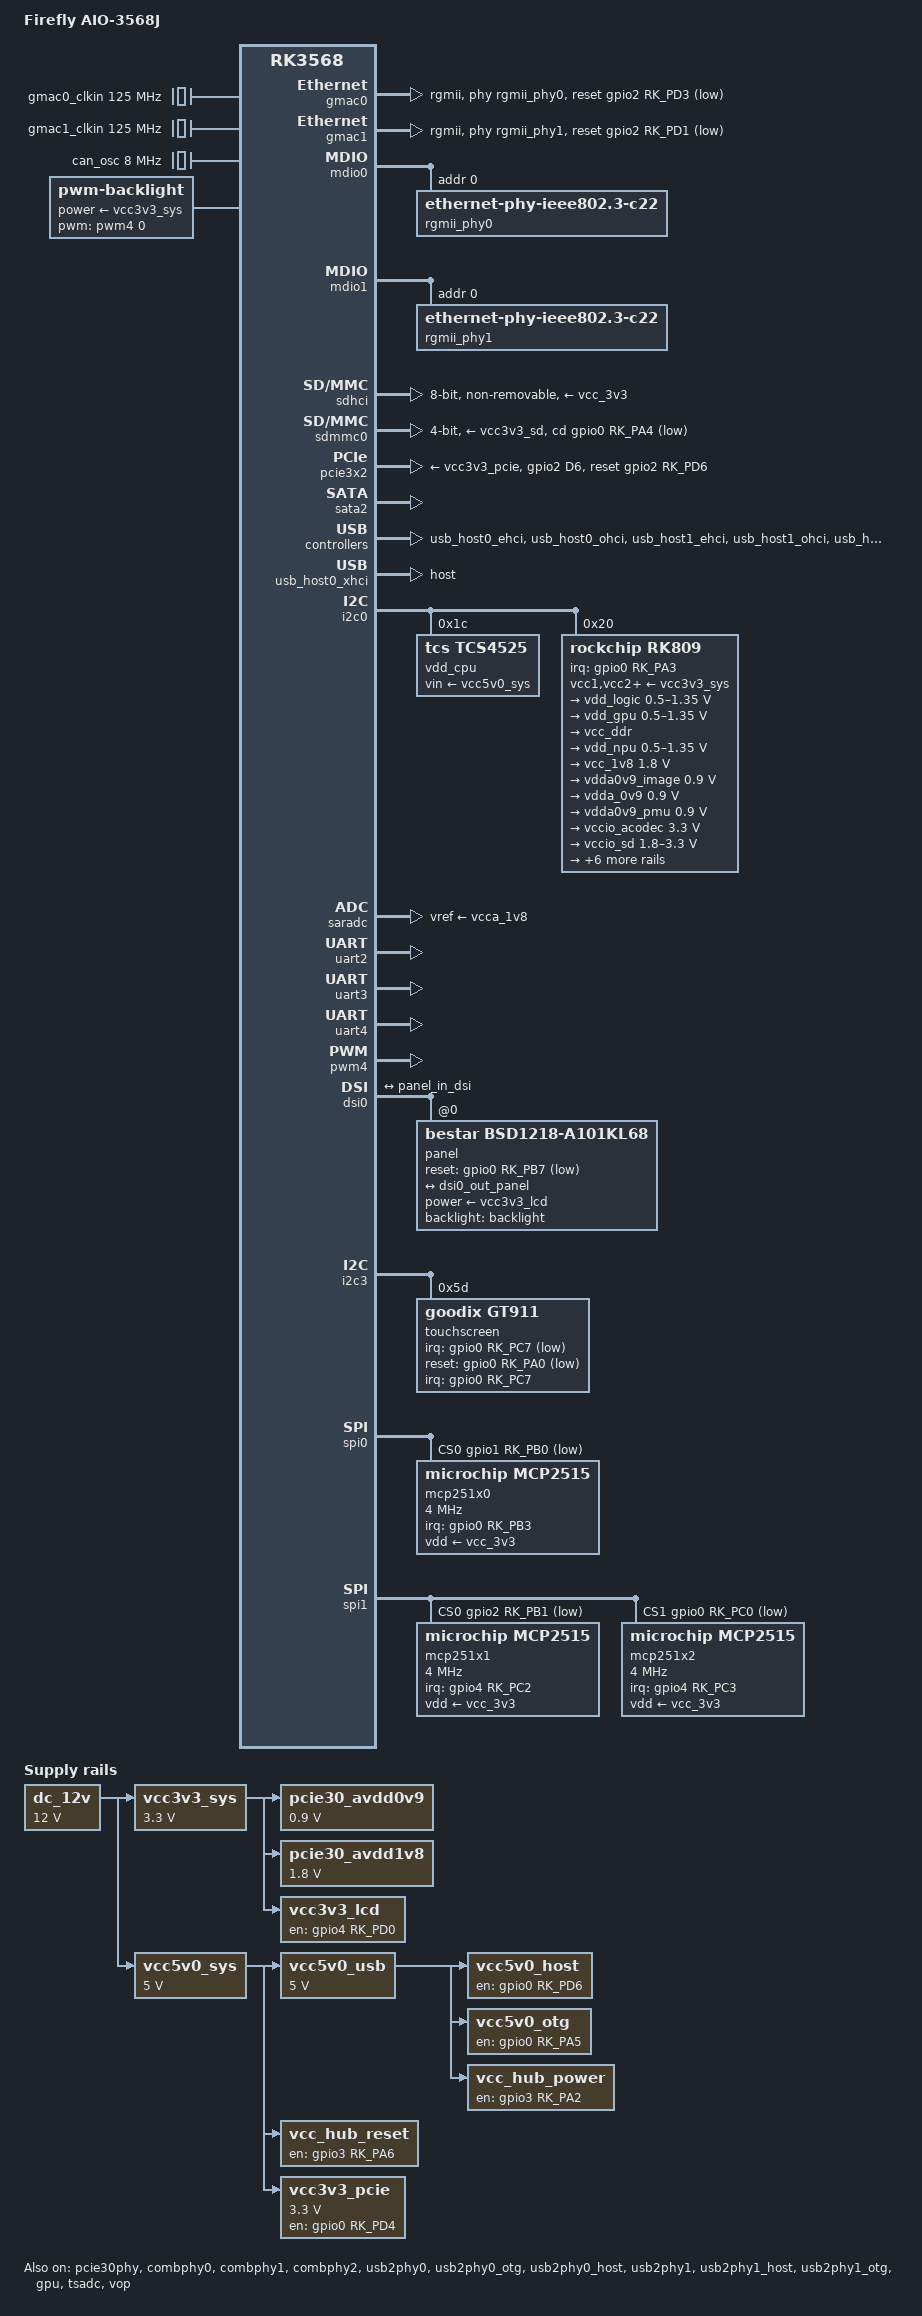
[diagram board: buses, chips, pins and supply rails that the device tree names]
// SPDX-License-Identifier: (GPL-2.0+ OR MIT)
/*
 * Firefly AIO-3568J (RK3568J) —— FnNAS 6.18.y 专用内核配套设备树
 *
 * 事实来源（按优先级）：
 *   1) 本机运行中的 DTB 反编译结果（ESMU.dts）：哪些节点真正被启用、真实 GPIO/引脚序号
 *   2) Firefly 官方 SDK 源码：rk3568-firefly-core.dtsi / -port.dtsi / -aioj.dtsi
 *   3) Linux 6.18.y 主线：rk3568.dtsi / rk356x-base.dtsi 及其绑定格式
 *
 * 已覆盖硬件：
 *   - 2 路 RTL8211F 千兆网口（gmac0/gmac1，RGMII）
 *   - eMMC（sdhci）、TF 卡（sdmmc0）
 *   - M.2 NVMe（PCIe3.0 x2，pcie3x2）＋ SATA（sata2 / combphy2）
 *   - USB：USB3 x2（OTG 口按实机设为 host）＋ USB2 x4（含 HUB 供电/复位）
 *   - 4G 模块：USB 通道 + 电源控制脚（默认与实机一致不软件使能）
 *   - 10.1" MIPI 屏：ILI9881C (bestar,bsd1218-a101kl68，800x1280) + PWM4 背光
 *   - 触摸：GT911（i2c3 @0x5d）
 *   - 3 路 MCP2515 CAN（spi0 1 路 + spi1 2 路）
 *   - RS232/RS485：uart3 / uart4
 *   - 调试串口 uart2，PMIC(RK809) 电源与 RTC，SARADC，TSADC
 *
 * 注意：HDMI 与 MIPI 在硬件上同属 VP0 输出，互斥；实机只启用 MIPI，
 *      故本文件默认关闭 HDMI（需要时见文末注释）。
 */

/dts-v1/;

#include <dt-bindings/gpio/gpio.h>
#include <dt-bindings/interrupt-controller/irq.h>
#include <dt-bindings/pinctrl/rockchip.h>
#include <dt-bindings/soc/rockchip,vop2.h>
#include "rk3568.dtsi"

/ {
	model = "Firefly AIO-3568J";
	compatible = "firefly,rk3568-aioj", "rockchip,rk3568";

	aliases {
		ethernet0 = &gmac0;
		ethernet1 = &gmac1;
		mmc0 = &sdmmc0;
		mmc1 = &sdhci;
		serial0 = &uart2;
	};

	chosen: chosen {
		stdout-path = "serial2:115200n8";
	};

	/* ---------- 供电 ---------- */

	dc_12v: regulator-dc-12v {
		compatible = "regulator-fixed";
		regulator-name = "dc_12v";
		regulator-always-on;
		regulator-boot-on;
		regulator-min-microvolt = <12000000>;
		regulator-max-microvolt = <12000000>;
	};

	vcc3v3_sys: regulator-vcc3v3-sys {
		compatible = "regulator-fixed";
		regulator-name = "vcc3v3_sys";
		regulator-always-on;
		regulator-boot-on;
		regulator-min-microvolt = <3300000>;
		regulator-max-microvolt = <3300000>;
		vin-supply = <&dc_12v>;
	};

	vcc5v0_sys: regulator-vcc5v0-sys {
		compatible = "regulator-fixed";
		regulator-name = "vcc5v0_sys";
		regulator-always-on;
		regulator-boot-on;
		regulator-min-microvolt = <5000000>;
		regulator-max-microvolt = <5000000>;
		vin-supply = <&dc_12v>;
	};

	vcc5v0_usb: regulator-vcc5v0-usb {
		compatible = "regulator-fixed";
		regulator-name = "vcc5v0_usb";
		regulator-always-on;
		regulator-boot-on;
		regulator-min-microvolt = <5000000>;
		regulator-max-microvolt = <5000000>;
		vin-supply = <&vcc5v0_sys>;
	};

	/* 实机 GPIO0_PD6 */
	vcc5v0_host: regulator-vcc5v0-host {
		compatible = "regulator-fixed";
		regulator-name = "vcc5v0_host";
		enable-active-high;
		gpio = <&gpio0 RK_PD6 GPIO_ACTIVE_HIGH>;
		pinctrl-names = "default";
		pinctrl-0 = <&vcc5v0_host_en>;
		regulator-always-on;
		vin-supply = <&vcc5v0_usb>;
	};

	vcc5v0_otg: regulator-vcc5v0-otg {
		compatible = "regulator-fixed";
		regulator-name = "vcc5v0_otg";
		enable-active-high;
		gpio = <&gpio0 RK_PA5 GPIO_ACTIVE_HIGH>;
		pinctrl-names = "default";
		pinctrl-0 = <&vcc5v0_otg_en>;
		vin-supply = <&vcc5v0_usb>;
	};

	/* USB HUB 供电与复位（实机 GPIO3_PA2 / GPIO3_PA6） */
	vcc_hub_power: regulator-vcc-hub-power {
		compatible = "regulator-fixed";
		regulator-name = "vcc_hub_power";
		enable-active-high;
		gpio = <&gpio3 RK_PA2 GPIO_ACTIVE_HIGH>;
		pinctrl-names = "default";
		pinctrl-0 = <&vcc_hub_power_en>;
		regulator-always-on;
		vin-supply = <&vcc5v0_usb>;
	};

	vcc_hub_reset: regulator-vcc-hub-reset {
		compatible = "regulator-fixed";
		regulator-name = "vcc_hub_reset";
		enable-active-high;
		gpio = <&gpio3 RK_PA6 GPIO_ACTIVE_HIGH>;
		pinctrl-names = "default";
		pinctrl-0 = <&vcc_hub_reset_en>;
		regulator-always-on;
		vin-supply = <&vcc5v0_sys>;
	};

	/* 4G 模块供电；实机固件中该 regulator 为 disabled（模块常电），保持原状 */
	vcc_4g_power: regulator-vcc-4g-power {
		compatible = "regulator-fixed";
		regulator-name = "vcc_4g_power";
		enable-active-high;
		gpio = <&gpio0 RK_PB0 GPIO_ACTIVE_HIGH>;
		pinctrl-names = "default";
		pinctrl-0 = <&vcc_4g_power_en>;
		status = "disabled";
		vin-supply = <&vcc5v0_sys>;
	};

	pcie30_avdd0v9: regulator-pcie30-avdd0v9 {
		compatible = "regulator-fixed";
		regulator-name = "pcie30_avdd0v9";
		regulator-always-on;
		regulator-boot-on;
		regulator-min-microvolt = <900000>;
		regulator-max-microvolt = <900000>;
		vin-supply = <&vcc3v3_sys>;
	};

	pcie30_avdd1v8: regulator-pcie30-avdd1v8 {
		compatible = "regulator-fixed";
		regulator-name = "pcie30_avdd1v8";
		regulator-always-on;
		regulator-boot-on;
		regulator-min-microvolt = <1800000>;
		regulator-max-microvolt = <1800000>;
		vin-supply = <&vcc3v3_sys>;
	};

	/* M.2 NVMe 3.3V，实机 GPIO0_PD4 使能 */
	vcc3v3_pcie: regulator-vcc3v3-pcie {
		compatible = "regulator-fixed";
		regulator-name = "vcc3v3_pcie";
		enable-active-high;
		regulator-min-microvolt = <3300000>;
		regulator-max-microvolt = <3300000>;
		pinctrl-names = "default";
		pinctrl-0 = <&vcc3v3_pcie_en>;
		gpio = <&gpio0 RK_PD4 GPIO_ACTIVE_HIGH>;
		startup-delay-us = <5000>;
		vin-supply = <&vcc5v0_sys>;
	};

	/*
	 * 屏供电/使能：实机 panel 的 enable-gpios = GPIO4_PD0（高有效）。
	 * 主线面板驱动不处理 enable-gpios，用一个常开 regulator 把它拉高，
	 * 行为与原厂一致。
	 */
	vcc3v3_lcd: regulator-vcc3v3-lcd {
		compatible = "regulator-fixed";
		regulator-name = "vcc3v3_lcd";
		enable-active-high;
		gpio = <&gpio4 RK_PD0 GPIO_ACTIVE_HIGH>;
		pinctrl-names = "default";
		pinctrl-0 = <&lcd_enable>;
		regulator-always-on;
		regulator-boot-on;
		vin-supply = <&vcc3v3_sys>;
	};

	/* ---------- 固定时钟 ---------- */

	gmac0_clkin: external-gmac0-clock {
		compatible = "fixed-clock";
		clock-frequency = <125000000>;
		clock-output-names = "gmac0_clkin";
		#clock-cells = <0>;
	};

	gmac1_clkin: external-gmac1-clock {
		compatible = "fixed-clock";
		clock-frequency = <125000000>;
		clock-output-names = "gmac1_clkin";
		#clock-cells = <0>;
	};

	/* 3 片 MCP2515 共用 8MHz 晶振（实机 xin8m） */
	can_osc: can-oscillator {
		compatible = "fixed-clock";
		clock-frequency = <8000000>;
		clock-output-names = "can_osc";
		#clock-cells = <0>;
	};

	/* ---------- 背光 ---------- */

	backlight: backlight {
		compatible = "pwm-backlight";
		pwms = <&pwm4 0 50000 0>;
		power-supply = <&vcc3v3_sys>;
		brightness-levels = <0 32 64 96 128 160 192 224 255>;
		default-brightness-level = <7>;
		status = "okay";
	};
};

/* ================= 网络 ================= */

&gmac0 {
	assigned-clocks = <&cru SCLK_GMAC0_RX_TX>, <&cru SCLK_GMAC0>;
	assigned-clock-parents = <&cru SCLK_GMAC0_RGMII_SPEED>, <&gmac0_clkin>;
	clock_in_out = "input";
	pinctrl-names = "default";
	pinctrl-0 = <&gmac0_miim
		     &gmac0_tx_bus2
		     &gmac0_rx_bus2
		     &gmac0_rgmii_clk
		     &gmac0_rgmii_bus
		     &gmac0_clkinout>;
	phy-handle = <&rgmii_phy0>;
	phy-mode = "rgmii";
	snps,reset-gpio = <&gpio2 RK_PD3 GPIO_ACTIVE_LOW>;
	snps,reset-active-low;
	snps,reset-delays-us = <0 20000 100000>;
	tx_delay = <0x3c>;
	rx_delay = <0x2f>;
	status = "okay";
};

&gmac1 {
	assigned-clocks = <&cru SCLK_GMAC1_RX_TX>, <&cru SCLK_GMAC1>;
	assigned-clock-parents = <&cru SCLK_GMAC1_RGMII_SPEED>, <&gmac1_clkin>;
	clock_in_out = "input";
	pinctrl-names = "default";
	pinctrl-0 = <&gmac1m1_miim
		     &gmac1m1_tx_bus2
		     &gmac1m1_rx_bus2
		     &gmac1m1_rgmii_clk
		     &gmac1m1_rgmii_bus
		     &gmac1m1_clkinout>;
	phy-handle = <&rgmii_phy1>;
	phy-mode = "rgmii";
	snps,reset-gpio = <&gpio2 RK_PD1 GPIO_ACTIVE_LOW>;
	snps,reset-active-low;
	snps,reset-delays-us = <0 20000 100000>;
	tx_delay = <0x4f>;
	rx_delay = <0x26>;
	status = "okay";
};

&mdio0 {
	rgmii_phy0: ethernet-phy@0 {
		compatible = "ethernet-phy-ieee802.3-c22";
		reg = <0x0>;
	};
};

&mdio1 {
	rgmii_phy1: ethernet-phy@0 {
		compatible = "ethernet-phy-ieee802.3-c22";
		reg = <0x0>;
	};
};

/* ================= 存储 ================= */

/* eMMC */
&sdhci {
	booton-dma-coherent;
	bus-width = <8>;
	max-frequency = <200000000>;
	mmc-hs400-1_8v;
	mmc-hs400-enhanced-strobe;
	non-removable;
	pinctrl-names = "default";
	pinctrl-0 = <&emmc_bus8 &emmc_clk &emmc_cmd &emmc_datastrobe>;
	vmmc-supply = <&vcc_3v3>;
	vqmmc-supply = <&vcc_1v8>;
	status = "okay";
};

/* TF 卡 */
&sdmmc0 {
	bus-width = <4>;
	cap-sd-highspeed;
	cd-gpios = <&gpio0 RK_PA4 GPIO_ACTIVE_LOW>;
	disable-wp;
	pinctrl-names = "default";
	pinctrl-0 = <&sdmmc0_bus4 &sdmmc0_clk &sdmmc0_cmd &sdmmc0_det>;
	sd-uhs-sdr104;
	vmmc-supply = <&vcc3v3_sd>;
	vqmmc-supply = <&vccio_sd>;
	status = "okay";
};

/* M.2 NVMe：PCIe3.0 x2 */
&pcie30phy {
	status = "okay";
};

&pcie3x2 {
	pinctrl-names = "default";
	pinctrl-0 = <&pcie_reset_pin>;
	reset-gpios = <&gpio2 RK_PD6 GPIO_ACTIVE_HIGH>;
	vpcie3v3-supply = <&vcc3v3_pcie>;
	status = "okay";
};

/* SATA 口（实机 sata@fc800000 = 主线 sata2，走 combphy2） */
&combphy0 {
	/* USB3 OTG */
	status = "okay";
};

&combphy1 {
	/* USB3 host */
	status = "okay";
};

&combphy2 {
	/* SATA */
	status = "okay";
};

&sata2 {
	status = "okay";
};

/* ================= USB ================= */

&usb2phy0 {
	status = "okay";
};

&usb2phy0_otg {
	phy-supply = <&vcc5v0_otg>;
	status = "okay";
};

&usb2phy0_host {
	phy-supply = <&vcc5v0_host>;
	status = "okay";
};

&usb2phy1 {
	status = "okay";
};

&usb2phy1_host {
	phy-supply = <&vcc5v0_host>;
	status = "okay";
};

&usb2phy1_otg {
	phy-supply = <&vcc5v0_host>;
	status = "okay";
};

&usb_host0_ehci {
	status = "okay";
};

&usb_host0_ohci {
	status = "okay";
};

&usb_host1_ehci {
	status = "okay";
};

&usb_host1_ohci {
	status = "okay";
};

/* fcc00000：实机为 host 模式（原厂 dr_mode = host） */
&usb_host0_xhci {
	dr_mode = "host";
	status = "okay";
};

/* fd000000：USB3 host */
&usb_host1_xhci {
	status = "okay";
};

/* ================= PMIC / RTC / ADC / 温度 ================= */

&i2c0 {
	status = "okay";

	vdd_cpu: regulator@1c {
		compatible = "tcs,tcs4525";
		reg = <0x1c>;
		fcs,suspend-voltage-selector = <1>;
		regulator-name = "vdd_cpu";
		regulator-always-on;
		regulator-boot-on;
		regulator-min-microvolt = <712500>;
		regulator-max-microvolt = <1390000>;
		regulator-ramp-delay = <2300>;
		vin-supply = <&vcc5v0_sys>;

		regulator-state-mem {
			regulator-off-in-suspend;
		};
	};

	rk809: pmic@20 {
		compatible = "rockchip,rk809";
		reg = <0x20>;
		interrupt-parent = <&gpio0>;
		interrupts = <RK_PA3 IRQ_TYPE_LEVEL_LOW>;
		#clock-cells = <1>;
		pinctrl-names = "default";
		pinctrl-0 = <&pmic_int>;
		system-power-controller;
		wakeup-source;
		vcc1-supply = <&vcc3v3_sys>;
		vcc2-supply = <&vcc3v3_sys>;
		vcc3-supply = <&vcc3v3_sys>;
		vcc4-supply = <&vcc3v3_sys>;
		vcc5-supply = <&vcc3v3_sys>;
		vcc6-supply = <&vcc3v3_sys>;
		vcc7-supply = <&vcc3v3_sys>;
		vcc8-supply = <&vcc3v3_sys>;
		vcc9-supply = <&vcc3v3_sys>;

		regulators {
			vdd_logic: DCDC_REG1 {
				regulator-name = "vdd_logic";
				regulator-always-on;
				regulator-boot-on;
				regulator-initial-mode = <0x2>;
				regulator-min-microvolt = <500000>;
				regulator-max-microvolt = <1350000>;
				regulator-ramp-delay = <6001>;

				regulator-state-mem {
					regulator-off-in-suspend;
				};
			};

			vdd_gpu: DCDC_REG2 {
				regulator-name = "vdd_gpu";
				regulator-always-on;
				regulator-boot-on;
				regulator-initial-mode = <0x2>;
				regulator-min-microvolt = <500000>;
				regulator-max-microvolt = <1350000>;
				regulator-ramp-delay = <6001>;

				regulator-state-mem {
					regulator-off-in-suspend;
				};
			};

			vcc_ddr: DCDC_REG3 {
				regulator-name = "vcc_ddr";
				regulator-always-on;
				regulator-boot-on;
				regulator-initial-mode = <0x2>;

				regulator-state-mem {
					regulator-on-in-suspend;
				};
			};

			vdd_npu: DCDC_REG4 {
				regulator-name = "vdd_npu";
				regulator-always-on;
				regulator-boot-on;
				regulator-initial-mode = <0x2>;
				regulator-min-microvolt = <500000>;
				regulator-max-microvolt = <1350000>;
				regulator-ramp-delay = <6001>;

				regulator-state-mem {
					regulator-off-in-suspend;
				};
			};

			vcc_1v8: DCDC_REG5 {
				regulator-name = "vcc_1v8";
				regulator-always-on;
				regulator-boot-on;
				regulator-min-microvolt = <1800000>;
				regulator-max-microvolt = <1800000>;

				regulator-state-mem {
					regulator-off-in-suspend;
				};
			};

			vdda0v9_image: LDO_REG1 {
				regulator-name = "vdda0v9_image";
				regulator-always-on;
				regulator-boot-on;
				regulator-min-microvolt = <900000>;
				regulator-max-microvolt = <900000>;

				regulator-state-mem {
					regulator-off-in-suspend;
				};
			};

			vdda_0v9: LDO_REG2 {
				regulator-name = "vdda_0v9";
				regulator-always-on;
				regulator-boot-on;
				regulator-min-microvolt = <900000>;
				regulator-max-microvolt = <900000>;

				regulator-state-mem {
					regulator-off-in-suspend;
				};
			};

			vdda0v9_pmu: LDO_REG3 {
				regulator-name = "vdda0v9_pmu";
				regulator-always-on;
				regulator-boot-on;
				regulator-min-microvolt = <900000>;
				regulator-max-microvolt = <900000>;

				regulator-state-mem {
					regulator-on-in-suspend;
					regulator-suspend-microvolt = <900000>;
				};
			};

			vccio_acodec: LDO_REG4 {
				regulator-name = "vccio_acodec";
				regulator-always-on;
				regulator-boot-on;
				regulator-min-microvolt = <3300000>;
				regulator-max-microvolt = <3300000>;

				regulator-state-mem {
					regulator-off-in-suspend;
				};
			};

			vccio_sd: LDO_REG5 {
				regulator-name = "vccio_sd";
				regulator-min-microvolt = <1800000>;
				regulator-max-microvolt = <3300000>;
				regulator-always-on;
				regulator-boot-on;

				regulator-state-mem {
					regulator-off-in-suspend;
				};
			};

			vcc3v3_pmu: LDO_REG6 {
				regulator-name = "vcc3v3_pmu";
				regulator-always-on;
				regulator-boot-on;
				regulator-min-microvolt = <3300000>;
				regulator-max-microvolt = <3300000>;

				regulator-state-mem {
					regulator-on-in-suspend;
					regulator-suspend-microvolt = <3300000>;
				};
			};

			vcca_1v8: LDO_REG7 {
				regulator-name = "vcca_1v8";
				regulator-always-on;
				regulator-boot-on;
				regulator-min-microvolt = <1800000>;
				regulator-max-microvolt = <1800000>;

				regulator-state-mem {
					regulator-off-in-suspend;
				};
			};

			vcca1v8_pmu: LDO_REG8 {
				regulator-name = "vcca1v8_pmu";
				regulator-always-on;
				regulator-boot-on;
				regulator-min-microvolt = <1800000>;
				regulator-max-microvolt = <1800000>;

				regulator-state-mem {
					regulator-on-in-suspend;
					regulator-suspend-microvolt = <1800000>;
				};
			};

			vcca1v8_image: LDO_REG9 {
				regulator-name = "vcca1v8_image";
				regulator-always-on;
				regulator-boot-on;
				regulator-min-microvolt = <1800000>;
				regulator-max-microvolt = <1800000>;

				regulator-state-mem {
					regulator-off-in-suspend;
				};
			};

			vcc_3v3: SWITCH_REG1 {
				regulator-name = "vcc_3v3";
				regulator-always-on;
				regulator-boot-on;

				regulator-state-mem {
					regulator-off-in-suspend;
				};
			};

			vcc3v3_sd: SWITCH_REG2 {
				regulator-name = "vcc3v3_sd";
				regulator-always-on;
				regulator-boot-on;

				regulator-state-mem {
					regulator-off-in-suspend;
				};
			};
		};
	};
};

&cpu0 {
	cpu-supply = <&vdd_cpu>;
};

&gpu {
	mali-supply = <&vdd_gpu>;
	status = "okay";
};

&pmu_io_domains {
	pmuio1-supply = <&vcc3v3_pmu>;
	pmuio2-supply = <&vcc3v3_pmu>;
	vccio1-supply = <&vccio_acodec>;
	vccio2-supply = <&vcc_1v8>;
	vccio3-supply = <&vccio_sd>;
	vccio4-supply = <&vcc_1v8>;
	vccio5-supply = <&vcc_3v3>;
	vccio6-supply = <&vcc_1v8>;
	vccio7-supply = <&vcc_3v3>;
	status = "okay";
};

&saradc {
	vref-supply = <&vcca_1v8>;
	status = "okay";
};

&tsadc {
	status = "okay";
};

/* ================= 调试串口 / 扩展串口 ================= */

&uart2 {
	pinctrl-names = "default";
	pinctrl-0 = <&uart2m0_xfer>;
	status = "okay";
};

/* RS232 / RS485（实机 uart3/uart4 m1 引脚） */
&uart3 {
	pinctrl-names = "default";
	pinctrl-0 = <&uart3m1_xfer>;
	status = "okay";
};

&uart4 {
	pinctrl-names = "default";
	pinctrl-0 = <&uart4m1_xfer>;
	status = "okay";
};

/* ================= MIPI 屏 + 触摸 ================= */

&pwm4 {
	pinctrl-names = "default";
	pinctrl-0 = <&pwm4_pins>;
	status = "okay";
};

&dsi0 {
	status = "okay";
	#address-cells = <1>;
	#size-cells = <0>;

	panel: panel@0 {
		compatible = "bestar,bsd1218-a101kl68";
		reg = <0>;
		backlight = <&backlight>;
		power-supply = <&vcc3v3_lcd>;
		reset-gpios = <&gpio0 RK_PB7 GPIO_ACTIVE_LOW>;
		pinctrl-names = "default";
		pinctrl-0 = <&lcd_rst>;

		port {
			panel_in_dsi: endpoint {
				remote-endpoint = <&dsi0_out_panel>;
			};
		};
	};

	ports {
		#address-cells = <1>;
		#size-cells = <0>;

		port@1 {
			reg = <1>;

			dsi0_out_panel: endpoint {
				remote-endpoint = <&panel_in_dsi>;
			};
		};
	};
};

&dsi0_in {
	dsi0_in_vp0: endpoint {
		remote-endpoint = <&vp0_out_dsi0>;
	};
};

&vp0 {
	vp0_out_dsi0: endpoint@ROCKCHIP_VOP2_EP_MIPI0 {
		reg = <ROCKCHIP_VOP2_EP_MIPI0>;
		remote-endpoint = <&dsi0_in_vp0>;
	};
};

&vop {
	assigned-clocks = <&cru DCLK_VOP0>, <&cru DCLK_VOP1>;
	assigned-clock-parents = <&pmucru PLL_HPLL>, <&cru PLL_VPLL>;
	status = "okay";
};

&vop_mmu {
	status = "okay";
};

/* 触摸：GT911 兼容（实机 compatible 为 goodix,gt9xxx，地址 0x5d）
 * 实机：RST=GPIO0_PA0，INT=GPIO0_PC7；厂商 dts 里另有一个 GPIO0_PC3 中断，
 * 若触摸无响应，可把 interrupt-parent/interrupts 与 irq-gpios 换成 GPIO0_PC3 试。
 */
&i2c3 {
	pinctrl-names = "default";
	pinctrl-0 = <&i2c3m0_xfer>;
	status = "okay";

	touchscreen@5d {
		compatible = "goodix,gt911";
		reg = <0x5d>;
		interrupt-parent = <&gpio0>;
		interrupts = <RK_PC7 IRQ_TYPE_LEVEL_LOW>;
		irq-gpios = <&gpio0 RK_PC7 GPIO_ACTIVE_LOW>;
		reset-gpios = <&gpio0 RK_PA0 GPIO_ACTIVE_LOW>;
		touchscreen-inverted-x;
		touchscreen-inverted-y;
		pinctrl-names = "default";
		pinctrl-0 = <&touch_int &touch_rst>;

		status = "okay";
	};
};

/* ================= 3 路 CAN（MCP2515） ================= */

&spi0 {
	pinctrl-names = "default";
	pinctrl-0 = <&spi0m0_pins>;
	cs-gpios = <&gpio1 RK_PB0 GPIO_ACTIVE_LOW>;
	status = "okay";

	mcp251x0: can@0 {
		compatible = "microchip,mcp2515";
		reg = <0>;
		clocks = <&can_osc>;
		interrupt-parent = <&gpio0>;
		interrupts = <RK_PB3 IRQ_TYPE_EDGE_FALLING>;
		spi-max-frequency = <4000000>;
		vdd-supply = <&vcc_3v3>;
		status = "okay";
	};
};

&spi1 {
	pinctrl-names = "default";
	pinctrl-0 = <&spi1m1_pins>;
	cs-gpios = <&gpio2 RK_PB1 GPIO_ACTIVE_LOW>, <&gpio0 RK_PC0 GPIO_ACTIVE_LOW>;
	status = "okay";

	mcp251x1: can@0 {
		compatible = "microchip,mcp2515";
		reg = <0>;
		clocks = <&can_osc>;
		interrupt-parent = <&gpio4>;
		interrupts = <RK_PC2 IRQ_TYPE_EDGE_FALLING>;
		spi-max-frequency = <4000000>;
		vdd-supply = <&vcc_3v3>;
		status = "okay";
	};

	mcp251x2: can@1 {
		compatible = "microchip,mcp2515";
		reg = <1>;
		clocks = <&can_osc>;
		interrupt-parent = <&gpio4>;
		interrupts = <RK_PC3 IRQ_TYPE_EDGE_FALLING>;
		spi-max-frequency = <4000000>;
		vdd-supply = <&vcc_3v3>;
		status = "okay";
	};
};

/* ================= pinctrl ================= */

&pinctrl {
	usb {
		vcc5v0_host_en: vcc5v0-host-en {
			rockchip,pins = <0 RK_PD6 RK_FUNC_GPIO &pcfg_pull_none>;
		};

		vcc5v0_otg_en: vcc5v0-otg-en {
			rockchip,pins = <0 RK_PA5 RK_FUNC_GPIO &pcfg_pull_none>;
		};

		vcc_hub_power_en: vcc-hub-power-en {
			rockchip,pins = <3 RK_PA2 RK_FUNC_GPIO &pcfg_pull_none>;
		};

		vcc_hub_reset_en: vcc-hub-reset-en {
			rockchip,pins = <3 RK_PA6 RK_FUNC_GPIO &pcfg_pull_none>;
		};
	};

	can_4g {
		vcc_4g_power_en: vcc-4g-power-en {
			rockchip,pins = <0 RK_PB0 RK_FUNC_GPIO &pcfg_pull_none>;
		};
	};

	pcie {
		pcie_reset_pin: pcie-reset-pin {
			rockchip,pins = <2 RK_PD6 RK_FUNC_GPIO &pcfg_pull_none>;
		};

		vcc3v3_pcie_en: vcc3v3-pcie-en {
			rockchip,pins = <0 RK_PD4 RK_FUNC_GPIO &pcfg_pull_none>;
		};
	};

	pmic {
		pmic_int: pmic-int {
			rockchip,pins = <0 RK_PA3 RK_FUNC_GPIO &pcfg_pull_up>;
		};
	};

	lcd {
		lcd_enable: lcd-enable {
			rockchip,pins = <4 RK_PD0 RK_FUNC_GPIO &pcfg_pull_none>;
		};

		lcd_rst: lcd-rst {
			rockchip,pins = <0 RK_PB7 RK_FUNC_GPIO &pcfg_pull_none>;
		};

		touch_int: touch-int {
			rockchip,pins = <0 RK_PC7 RK_FUNC_GPIO &pcfg_pull_up>;
		};

		touch_rst: touch-rst {
			rockchip,pins = <0 RK_PA0 RK_FUNC_GPIO &pcfg_pull_none>;
		};
	};
};

/*
 * 需要用 HDMI 输出时，把下面两段注释放开（会与 MIPI 屏互斥，二选一）：
 *
 * &hdmi {
 *	status = "okay";
 * };
 *
 * &hdmi_in { hdmi_in_vp0: endpoint { remote-endpoint = <&vp0_out_hdmi>; }; };
 * &hdmi_out { hdmi_out_con: endpoint { remote-endpoint = <&hdmi_con_in>; }; };
 *
 * &vp0 {
 *	vp0_out_hdmi: endpoint@ROCKCHIP_VOP2_EP_HDMI0 {
 *		reg = <ROCKCHIP_VOP2_EP_HDMI0>;
 *		remote-endpoint = <&hdmi_in_vp0>;
 *	};
 * };
 */
